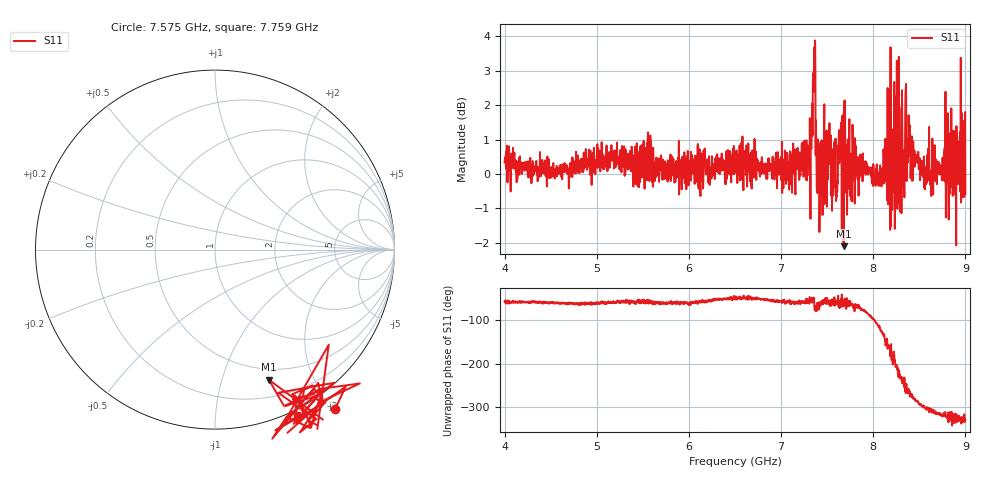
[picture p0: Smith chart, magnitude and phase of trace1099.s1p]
! Created with skrf 1.8.0 (http://scikit-rf.org).
# Hz S RI R 50.0
!freq ReS11 ImS11
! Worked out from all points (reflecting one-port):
!   1601 points, 4 GHz to 9 GHz, reference 50 ohm
!   lowest |S11| = -2.1 dB at 7.678 GHz (marker M1), VSWR 8.31, Z = 18.9 - j71.4 ohm
!   phase of S11 starts at -56 deg and turns -274 deg over the sweep
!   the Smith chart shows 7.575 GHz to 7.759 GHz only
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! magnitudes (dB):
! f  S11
! 4 GHz  0.3
! 4.625 GHz  -0.2
! 5.25 GHz  0.2
! 5.875 GHz  0.3
! 6.5 GHz  0.0
! 7.125 GHz  0.7
! 7.294 GHz  0.5
! 7.356 GHz  3.0
! 7.4 GHz  1.0
! 7.412 GHz  0.1
! 7.512 GHz  1.2
! 7.591 GHz  1.0
! 7.65 GHz  1.4
! 7.678 GHz  -2.1
! 7.75 GHz  0.3
! 8.075 GHz  0.2
! 8.162 GHz  -0.9
! 8.216 GHz  0.3
! 8.262 GHz  -1.0
! 8.312 GHz  2.4
! 8.334 GHz  -0.1
! 8.375 GHz  0.3
! 8.425 GHz  0.4
! 8.556 GHz  -0.4
! 8.788 GHz  -1.3
! 8.9 GHz  -2.1
! 8.959 GHz  1.8
! 9 GHz  -0.6
